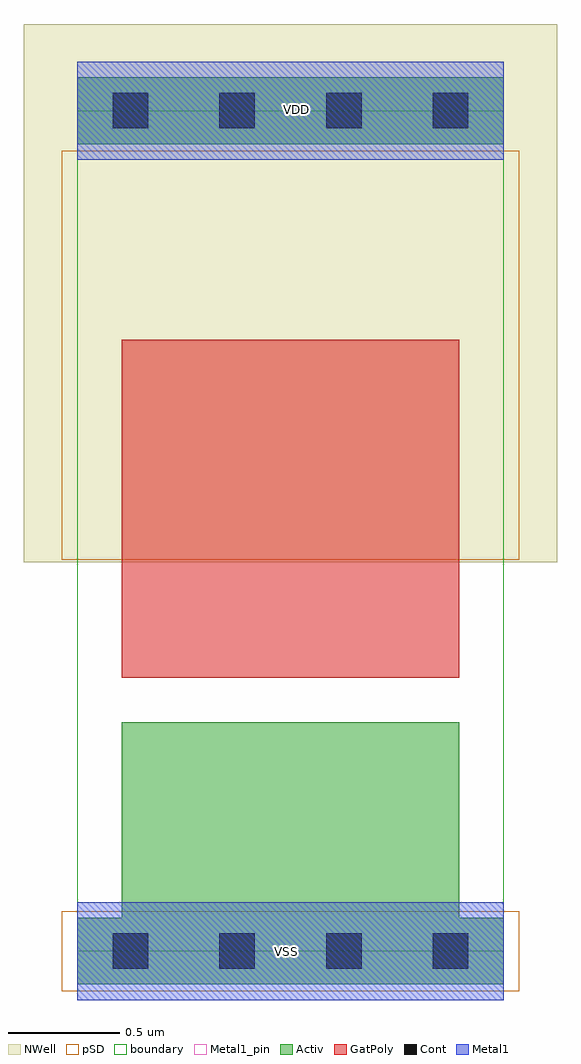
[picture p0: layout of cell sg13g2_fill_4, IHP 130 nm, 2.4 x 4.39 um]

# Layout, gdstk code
import gdstk
lib = gdstk.Library(unit=1e-6, precision=1e-09)
def R(c, l, rs):  # rectangles x0, y0, x1, y1
    for r in rs: c.add(gdstk.rectangle(r[:2], r[2:], *l))
def A(c, l, x, y, w, h, nx, ny, dx, dy):  # array of equal rectangles
    R(c, l, [(x+i*dx, y+j*dy, x+i*dx+w, y+j*dy+h) for i in range(nx) for j in range(ny)])
Activ = (1, 0)
GatPoly = (5, 0)
Cont = (6, 0)
Metal1 = (8, 0)
Metal1_pin = (8, 2)
pSD = (14, 0)
NWell = (31, 0)
boundary = (189, 4)

sg13g2_fill_4 = lib.new_cell('sg13g2_fill_4')
R(sg13g2_fill_4, Activ, [(0,-0.15,1.92,0.15), (0.2,0.15,1.72,1.03), (0,3.63,1.92,3.93)])
R(sg13g2_fill_4, GatPoly, [(0.2,1.23,1.72,2.75)])
A(sg13g2_fill_4, Cont, 0.16, -0.08, 0.16, 0.16, 4, 2, 0.48, 3.78)
R(sg13g2_fill_4, Metal1, [(0,-0.22,1.92,0.22), (0,3.56,1.92,4)])
R(sg13g2_fill_4, Metal1_pin, [(0,-0.22,1.92,0.22), (0,3.56,1.92,4)])
R(sg13g2_fill_4, pSD, [(-0.07,-0.18,1.99,0.18), (-0.07,1.76,1.99,3.6)])
R(sg13g2_fill_4, NWell, [(-0.24,1.75,2.16,4.17)])
R(sg13g2_fill_4, boundary, [(0,0,1.92,3.78)])
sg13g2_fill_4.add(gdstk.Label('VDD', (0.985,3.785), layer=8, texttype=25))
sg13g2_fill_4.add(gdstk.Label('VSS', (0.94,0), layer=8, texttype=25))

lib.write_gds('sg13g2_fill_4.gds')
